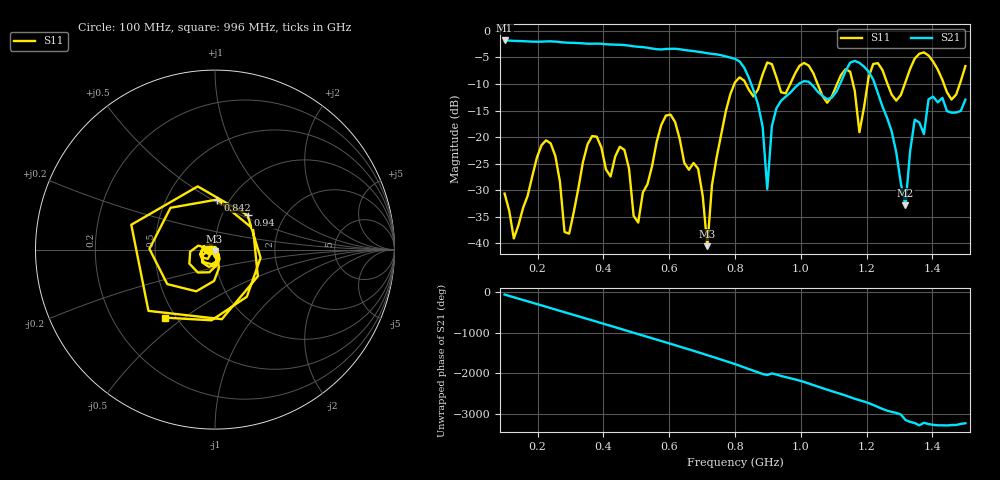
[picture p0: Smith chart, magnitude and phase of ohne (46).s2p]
! NanoVNA-App
! Date: 2025-09-25 14:21:09
! Start: 100MHz Stop: 1,5GHz Points: 101
! S-Parameter data: F S11 S21 S12 S22
# Hz S RI R 50
!  Frequency  S11_Real  S11_Imag  S21_Real  S21_Imag  S12_Real  S12_Imag  S22_Real  S22_Imag
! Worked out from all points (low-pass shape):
!   101 points, 100 MHz to 1.5 GHz, reference 50 ohm
!   highest |S21| = -1.79 dB at 100 MHz (marker M1); lowest = -32.9 dB at 1.318 GHz (marker M2)
!   |S21| within 3 dB of the highest: start of sweep to 771.3 MHz
!   lowest |S11| = -40.5 dB at 716 MHz (marker M3), VSWR 1.02, Z = 49.7 - j0.9 ohm
!   |S11| at or under -10 dB: start of sweep to 798 MHz; 833.2 MHz to 875 MHz (41.84 MHz wide, 4.9 % of centre); 1.051 GHz to 1.11 GHz (59.06 MHz wide, 5.47 % of centre) (the widest 3 of 7)
!   S12 and S22 are empty: the file has one direction only
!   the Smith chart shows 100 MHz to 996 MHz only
!   S11 on the Smith chart (normalised r, x): 100 MHz: 0.94, -0.01; 842 MHz: 0.88, +0.53; 940 MHz: 1.32, +0.54; 996 MHz: 0.44, -0.43
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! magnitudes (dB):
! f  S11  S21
! 100 MHz  -30.6  -1.8
! 128 MHz  -39.1  -1.9
! 226 MHz  -20.6  -2.0
! 296 MHz  -38.2  -2.2
! 338 MHz  -24.7  -2.3
! 464 MHz  -22.4  -2.7
! 506 MHz  -36.1  -3.0
! 576 MHz  -17.7  -3.5
! 688 MHz  -26.0  -3.9
! 716 MHz  -40.5  -4.2
! 800 MHz  -9.7  -5.3
! 842 MHz  -11.1  -8.8
! 898 MHz  -5.9  -29.8
! 940 MHz  -11.6  -13.2
! 996 MHz  -6.6  -9.9
! 1.038 GHz  -8.0  -10.4
! 1.178 GHz  -19.1  -6.0
! 1.22 GHz  -6.2  -9.2
! 1.276 GHz  -12.0  -18.9
! 1.318 GHz  -9.6  -32.9
! 1.346 GHz  -5.2  -16.7
! 1.5 GHz  -6.6  -13.0
